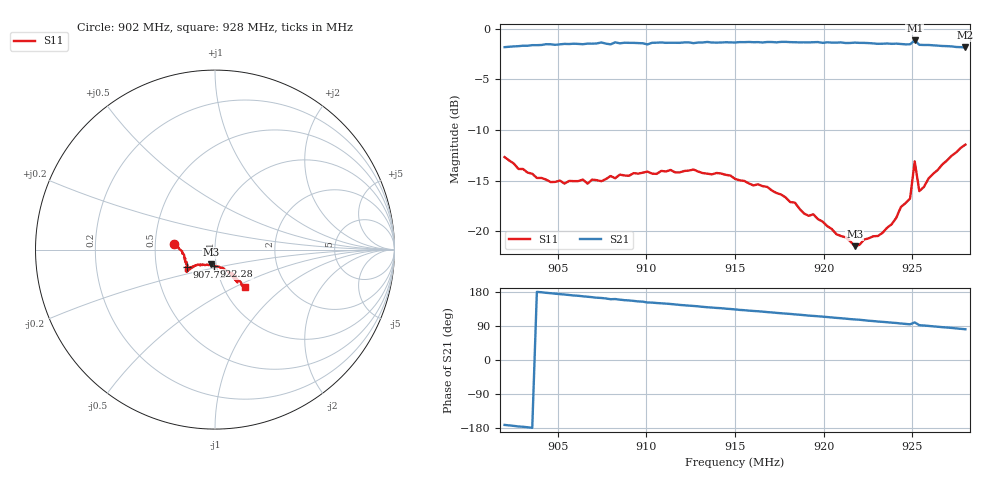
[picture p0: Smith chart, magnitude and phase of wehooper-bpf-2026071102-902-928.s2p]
# HZ S RI R 50
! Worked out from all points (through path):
!   101 points, 902 MHz to 928 MHz, reference 50 ohm
!   highest |S21| = -1.18 dB at 925.14 MHz (marker M1); lowest = -1.9 dB at 928 MHz (marker M2)
!   lowest |S11| = -21.5 dB at 921.76 MHz (marker M3), VSWR 1.18, Z = 47.2 - j7.76 ohm
!   |S11| at or under -10 dB: start of sweep to end of sweep
!   S12 and S22 are empty: the file has one direction only
!   S11 on the Smith chart (normalised r, x): 902 MHz: 0.62, +0.04; 907.72 MHz: 0.72, -0.14; 922.28 MHz: 0.97, -0.18; 928 MHz: 1.25, -0.57
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9.02e8  -0.2306 0.0302  -0.8003 -0.122  0 0  0 0
9.0278e8  -0.2029 0.0119  -0.816 -0.0657  0 0  0 0
9.046e8  -0.1728 -0.0283  -0.8344 0.0549  0 0  0 0
9.0642e8  -0.1666 -0.0684  -0.8191 0.1729  0 0  0 0
9.0668e8  -0.1572 -0.0698  -0.821 0.1907  0 0  0 0
9.0772e8  -0.1549 -0.0943  -0.803 0.2551  0 0  0 0
9.1084e8  -0.1581 -0.1205  -0.7368 0.4319  0 0  0 0
9.1266e8  -0.1617 -0.1208  -0.6732 0.5145  0 0  0 0
9.15e8  -0.1444 -0.11  -0.5876 0.619  0 0  0 0
9.1682e8  -0.1341 -0.0974  -0.51 0.6906  0 0  0 0
9.1838e8  -0.106 -0.0895  -0.4332 0.7382  0 0  0 0
9.189e8  -0.0899 -0.0832  -0.4061 0.7526  0 0  0 0
9.1942e8  -0.0829 -0.0888  -0.3798 0.7673  0 0  0 0
9.2176e8  -0.0224 -0.0816  -0.249 0.8151  0 0  0 0
9.2228e8  -0.00755 -0.0908  -0.2194 0.8209  0 0  0 0
9.2306e8  0.0127 -0.0941  -0.1672 0.8239  0 0  0 0
9.2384e8  0.039 -0.1013  -0.1254 0.8311  0 0  0 0
9.2436e8  0.0599 -0.1175  -0.093 0.8339  0 0  0 0
9.2488e8  0.0754 -0.1244  -0.061 0.8339  0 0  0 0
9.2514e8  0.1251 -0.1828  -0.1401 0.8622  0 0  0 0
9.254e8  0.0909 -0.1293  -0.0276 0.8307  0 0  0 0
9.28e8  0.1649 -0.2111  0.1243 0.7975  0 0  0 0
